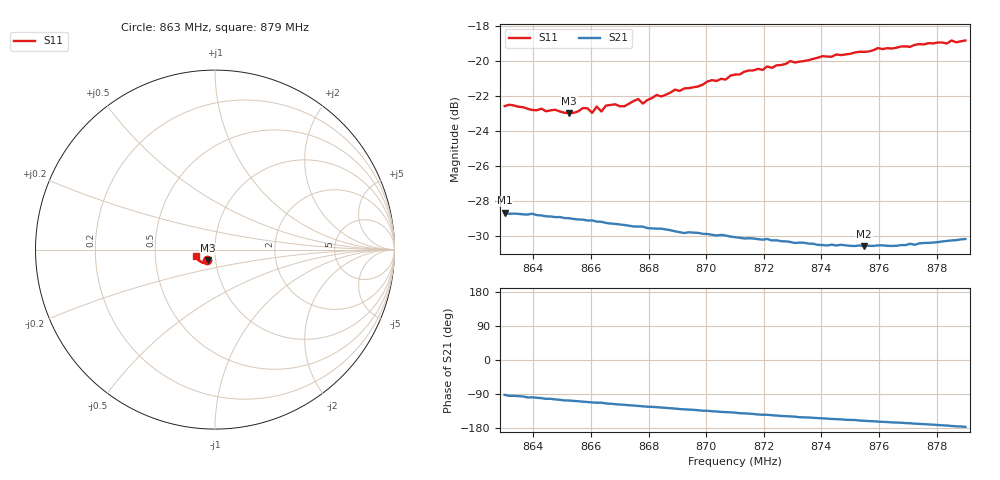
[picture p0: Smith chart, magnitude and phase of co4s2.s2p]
# HZ S RI R 50
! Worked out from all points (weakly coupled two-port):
!   101 points, 863 MHz to 879 MHz, reference 50 ohm
!   highest |S21| = -28.68 dB at 863 MHz (marker M1); lowest = -30.6 dB at 875.48 MHz (marker M2)
!   lowest |S11| = -23.0 dB at 865.24 MHz (marker M3), VSWR 1.15, Z = 45.9 - j5.47 ohm
!   |S11| at or under -10 dB: start of sweep to end of sweep
!   S12 and S22 are empty: the file has one direction only
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8.63e8  -0.0445 -0.0594  -0.00134 -0.0368  0 0  0 0
8.6524e8  -0.0389 -0.0592  -0.0103 -0.034  0 0  0 0
8.6572e8  -0.0383 -0.0624  -0.012 -0.0331  0 0  0 0
8.6604e8  -0.0369 -0.0606  -0.013 -0.0325  0 0  0 0
8.662e8  -0.0397 -0.0624  -0.0135 -0.032  0 0  0 0
8.6636e8  -0.0374 -0.0611  -0.0133 -0.032  0 0  0 0
8.6652e8  -0.0385 -0.0637  -0.0144 -0.0313  0 0  0 0
8.6716e8  -0.0375 -0.0639  -0.0161 -0.0299  0 0  0 0
8.6764e8  -0.0407 -0.0662  -0.0174 -0.0288  0 0  0 0
8.678e8  -0.0394 -0.0643  -0.0179 -0.0284  0 0  0 0
8.6828e8  -0.0411 -0.0684  -0.0188 -0.0273  0 0  0 0
8.6844e8  -0.041 -0.0676  -0.0193 -0.027  0 0  0 0
8.6892e8  -0.0437 -0.0702  -0.0202 -0.0256  0 0  0 0
8.7068e8  -0.0508 -0.0722  -0.0234 -0.0214  0 0  0 0
8.71e8  -0.0541 -0.0735  -0.0236 -0.0206  0 0  0 0
8.7212e8  -0.0619 -0.0738  -0.0253 -0.0179  0 0  0 0
8.7228e8  -0.0619 -0.0725  -0.0254 -0.0173  0 0  0 0
8.7292e8  -0.0679 -0.0731  -0.026 -0.0157  0 0  0 0
8.7372e8  -0.0722 -0.071  -0.0267 -0.0138  0 0  0 0
8.7548e8  -0.0852 -0.0629  -0.0278 -0.00995  0 0  0 0
8.7644e8  -0.0925 -0.0564  -0.0285 -0.00782  0 0  0 0
8.79e8  -0.1082 -0.0364  -0.0309 -0.00192  0 0  0 0
